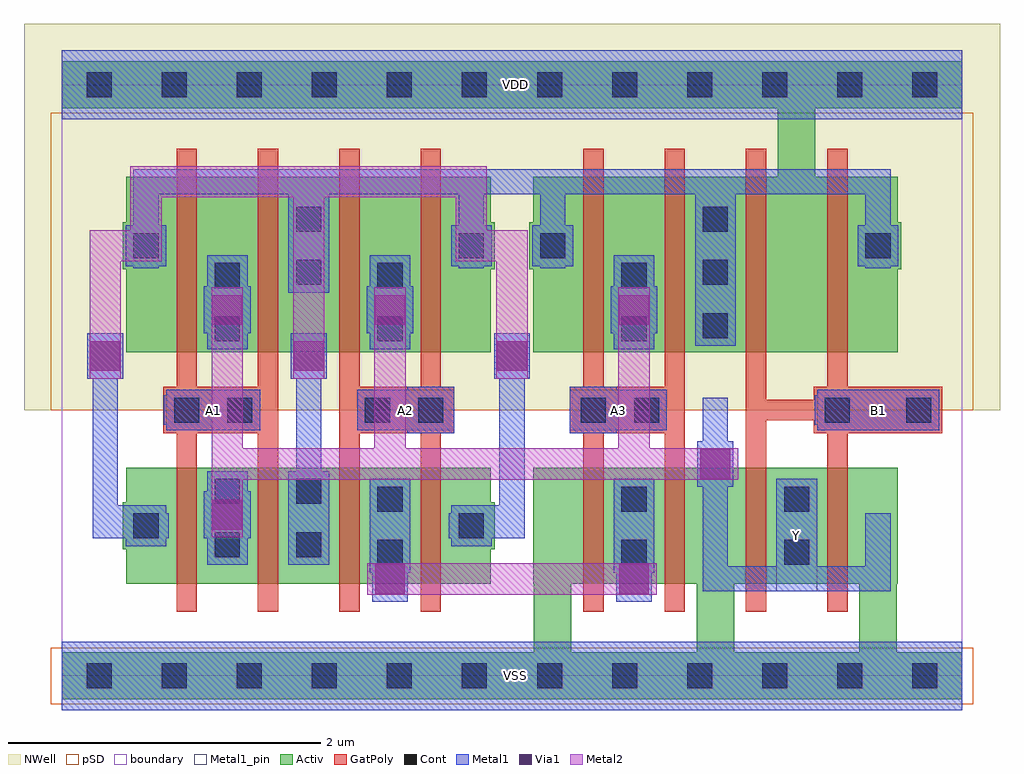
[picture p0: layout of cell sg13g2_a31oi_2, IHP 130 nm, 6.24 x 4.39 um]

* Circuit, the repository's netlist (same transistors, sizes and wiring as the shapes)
.SUBCKT sg13g2_a31oi_2 Y A1 A2 A3 B1 VDD VSS
*.PININFO A1:I A2:I A3:I B1:I Y:O VDD:B VSS:B
MN0 Y A1 net1 VSS sg13_lv_nmos w=1.48u l=130.00n ng=2
MN1 net1 A2 net2 VSS sg13_lv_nmos w=1.48u l=130.00n ng=2
MN2 net2 A3 VSS VSS sg13_lv_nmos w=1.48u l=130.00n ng=2
MN3 Y B1 VSS VSS sg13_lv_nmos w=1.48u l=130.00n ng=2
MP0 Y A1 net3 VDD sg13_lv_pmos w=2.24u l=130.00n ng=2
MP1 Y A2 net3 VDD sg13_lv_pmos w=2.24u l=130.00n ng=2
MP2 Y A3 net3 VDD sg13_lv_pmos w=2.24u l=130.00n ng=2
MP3 net3 B1 VDD VDD sg13_lv_pmos w=2.24u l=130.00n ng=2
.ENDS

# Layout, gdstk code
import gdstk
lib = gdstk.Library(unit=1e-6, precision=1e-09)
def R(c, l, rs):  # rectangles x0, y0, x1, y1
    for r in rs: c.add(gdstk.rectangle(r[:2], r[2:], *l))
def A(c, l, x, y, w, h, nx, ny, dx, dy):  # array of equal rectangles
    R(c, l, [(x+i*dx, y+j*dy, x+i*dx+w, y+j*dy+h) for i in range(nx) for j in range(ny)])
def P(c, l, *ps):  # polygons
    for p in ps: c.add(gdstk.Polygon(p, *l))
Activ = (1, 0)
GatPoly = (5, 0)
Cont = (6, 0)
Metal1 = (8, 0)
Metal1_pin = (8, 2)
Metal2 = (10, 0)
pSD = (14, 0)
Via1 = (19, 0)
NWell = (31, 0)
boundary = (189, 4)

sg13g2_a31oi_2 = lib.new_cell('sg13g2_a31oi_2')
P(sg13g2_a31oi_2, Activ, [(3.02,0.15),(0,0.15),(0,-0.15),(5.76,-0.15),(5.76,0.15),(3.02,0.15),(3.26,0.15),(3.26,0.59),(4.06,0.59),(4.06,0.15),(4.3,0.15),(4.3,0.59),(5.1,0.59),(5.1,0.15),(5.34,0.15),(5.34,0.59),(5.345,0.59),(5.345,1.33),(3.015,1.33),(3.015,0.59),(3.02,0.59)],
  [(0,3.63),(4.58,3.63),(4.58,3.19),(3.015,3.19),(3.015,2.9),(2.99,2.9),(2.99,2.6),(3.015,2.6),(3.015,2.07),(5.345,2.07),(5.345,2.6),(5.37,2.6),(5.37,2.9),(5.345,2.9),(5.345,3.19),(4.82,3.19),(4.82,3.63),(5.76,3.63),(5.76,3.93),(0,3.93)],
  [(0.39,0.81),(0.415,0.81),(0.415,0.59),(2.745,0.59),(2.745,0.81),(2.77,0.81),(2.77,1.11),(2.745,1.11),(2.745,1.33),(0.415,1.33),(0.415,1.11),(0.39,1.11)],
  [(0.39,2.6),(0.415,2.6),(0.415,2.07),(2.745,2.07),(2.745,2.6),(2.77,2.6),(2.77,2.9),(2.745,2.9),(2.745,3.19),(0.415,3.19),(0.415,2.9),(0.39,2.9)])
P(sg13g2_a31oi_2, GatPoly, [(0.65,1.55),(0.735,1.55),(0.735,0.41),(0.865,0.41),(0.865,1.55),(1.255,1.55),(1.255,0.41),(1.385,0.41),(1.385,3.37),(1.255,3.37),(1.255,1.85),(0.865,1.85),(0.865,3.37),(0.735,3.37),(0.735,1.85),(0.65,1.85)],
  [(1.775,0.41),(1.905,0.41),(1.905,1.55),(2.295,1.55),(2.295,0.41),(2.425,0.41),(2.425,1.55),(2.51,1.55),(2.51,1.85),(2.425,1.85),(2.425,3.37),(2.295,3.37),(2.295,1.85),(1.905,1.85),(1.905,3.37),(1.775,3.37)],
  [(3.25,1.55),(3.335,1.55),(3.335,0.41),(3.465,0.41),(3.465,1.55),(3.855,1.55),(3.855,0.41),(3.985,0.41),(3.985,3.37),(3.855,3.37),(3.855,1.85),(3.465,1.85),(3.465,3.37),(3.335,3.37),(3.335,1.85),(3.25,1.85)],
  [(4.375,0.41),(4.505,0.41),(4.505,1.635),(4.81,1.635),(4.81,1.55),(4.895,1.55),(4.895,0.41),(5.025,0.41),(5.025,1.55),(5.63,1.55),(5.63,1.85),(5.025,1.85),(5.025,3.37),(4.895,3.37),(4.895,1.85),(4.81,1.85),(4.81,1.765),(4.505,1.765),(4.505,3.37),(4.375,3.37)])
A(sg13g2_a31oi_2, Cont, 0.16, -0.08, 0.16, 0.16, 12, 2, 0.48, 3.78)
A(sg13g2_a31oi_2, Cont, 4.1, 2.16, 0.16, 0.16, 1, 3, 0, 0.34)
R(sg13g2_a31oi_2, Cont, [(2.02,0.71,2.18,0.87), (3.58,0.71,3.74,0.87), (4.62,0.71,4.78,0.87), (0.98,0.76,1.14,0.92), (1.5,0.76,1.66,0.92), (0.46,0.88,0.62,1.04), (2.54,0.88,2.7,1.04), (2.02,1.05,2.18,1.21), (3.58,1.05,3.74,1.21), (4.62,1.05,4.78,1.21), (0.98,1.1,1.14,1.26), (1.5,1.1,1.66,1.26), (0.72,1.62,0.88,1.78), (1.06,1.62,1.22,1.78), (1.94,1.62,2.1,1.78), (2.28,1.62,2.44,1.78), (3.32,1.62,3.48,1.78), (3.66,1.62,3.82,1.78), (4.88,1.62,5.04,1.78), (5.4,1.62,5.56,1.78), (0.98,2.14,1.14,2.3), (2.02,2.14,2.18,2.3), (3.58,2.14,3.74,2.3), (0.98,2.48,1.14,2.64), (2.02,2.48,2.18,2.64), (3.58,2.48,3.74,2.64), (1.5,2.5,1.66,2.66), (0.46,2.67,0.62,2.83), (2.54,2.67,2.7,2.83), (3.06,2.67,3.22,2.83), (5.14,2.67,5.3,2.83), (1.5,2.84,1.66,3)])
R(sg13g2_a31oi_2, Metal1, [(0,-0.22,5.76,0.22), (0,3.56,5.76,4)])
P(sg13g2_a31oi_2, Metal1, [(0.165,1.9),(0.2,1.9),(0.2,0.88),(0.41,0.88),(0.41,0.83),(0.67,0.83),(0.67,0.88),(0.685,0.88),(0.685,1.04),(0.67,1.04),(0.67,1.09),(0.36,1.09),(0.36,1.9),(0.395,1.9),(0.395,2.19),(0.165,2.19)],
  [(0.41,2.62),(0.46,2.62),(0.46,2.605),(0.62,2.605),(0.62,2.62),(0.67,2.62),(0.67,2.88),(0.62,2.88),(0.62,3.08),(1.45,3.08),(1.45,2.45),(1.71,2.45),(1.71,3.08),(2.54,3.08),(2.54,2.88),(2.49,2.88),(2.49,2.62),(2.54,2.62),(2.54,2.605),(2.7,2.605),(2.7,2.62),(2.75,2.62),(2.75,2.88),(2.7,2.88),(2.7,3.08),(3.06,3.08),(3.06,2.88),(3.01,2.88),(3.01,2.62),(3.06,2.62),(3.06,2.605),(3.22,2.605),(3.22,2.62),(3.27,2.62),(3.27,2.88),(3.22,2.88),(3.22,3.08),(4.05,3.08),(4.05,2.11),(4.31,2.11),(4.31,3.08),(5.14,3.08),(5.14,2.88),(5.09,2.88),(5.09,2.62),(5.14,2.62),(5.14,2.605),(5.3,2.605),(5.3,2.62),(5.35,2.62),(5.35,2.88),(5.3,2.88),(5.3,3.24),(0.46,3.24),(0.46,2.88),(0.41,2.88)],
  [(0.655,1.605),(0.67,1.605),(0.67,1.57),(1.27,1.57),(1.27,1.83),(0.67,1.83),(0.67,1.795),(0.655,1.795)],
  [(0.91,0.88),(0.93,0.88),(0.93,0.71),(1.19,0.71),(1.19,0.88),(1.21,0.88),(1.21,1.18),(1.19,1.18),(1.19,1.31),(0.93,1.31),(0.93,1.18),(0.91,1.18)],
  [(0.91,2.19),(0.93,2.19),(0.93,2.09),(1.19,2.09),(1.19,2.19),(1.21,2.19),(1.21,2.49),(1.19,2.49),(1.19,2.69),(0.93,2.69),(0.93,2.49),(0.91,2.49)],
  [(1.45,0.71),(1.71,0.71),(1.71,1.31),(1.66,1.31),(1.66,1.9),(1.695,1.9),(1.695,2.19),(1.465,2.19),(1.465,1.9),(1.5,1.9),(1.5,1.31),(1.45,1.31)],
  [(1.89,1.57),(2.21,1.57),(2.21,1.55),(2.51,1.55),(2.51,1.85),(2.21,1.85),(2.21,1.83),(1.89,1.83)],
  [(1.95,2.19),(1.97,2.19),(1.97,2.09),(2.23,2.09),(2.23,2.19),(2.25,2.19),(2.25,2.49),(2.23,2.49),(2.23,2.69),(1.97,2.69),(1.97,2.49),(1.95,2.49)],
  [(1.97,0.66),(1.985,0.66),(1.985,0.475),(2.215,0.475),(2.215,0.66),(2.23,0.66),(2.23,1.26),(1.97,1.26)],
  [(2.475,0.88),(2.49,0.88),(2.49,0.83),(2.75,0.83),(2.75,0.88),(2.96,0.88),(2.96,1.9),(2.995,1.9),(2.995,2.19),(2.765,2.19),(2.765,1.9),(2.8,1.9),(2.8,1.09),(2.49,1.09),(2.49,1.04),(2.475,1.04)],
  [(3.25,1.55),(3.55,1.55),(3.55,1.57),(3.87,1.57),(3.87,1.83),(3.55,1.83),(3.55,1.85),(3.25,1.85)],
  [(3.51,2.19),(3.53,2.19),(3.53,2.09),(3.79,2.09),(3.79,2.19),(3.81,2.19),(3.81,2.49),(3.79,2.49),(3.79,2.69),(3.53,2.69),(3.53,2.49),(3.51,2.49)],
  [(3.53,0.66),(3.545,0.66),(3.545,0.475),(3.775,0.475),(3.775,0.66),(3.79,0.66),(3.79,1.26),(3.53,1.26)],
  [(4.065,1.21),(4.1,1.21),(4.1,0.54),(5.3,0.54),(5.3,1.04),(5.14,1.04),(5.14,0.7),(4.83,0.7),(4.83,1.26),(4.57,1.26),(4.57,0.7),(4.26,0.7),(4.26,1.21),(4.295,1.21),(4.295,1.5),(4.26,1.5),(4.26,1.78),(4.1,1.78),(4.1,1.5),(4.065,1.5)],
  [(4.815,1.605),(4.83,1.605),(4.83,1.57),(5.61,1.57),(5.61,1.83),(4.83,1.83),(4.83,1.795),(4.815,1.795)])
R(sg13g2_a31oi_2, Metal1_pin, [(0,-0.22,5.76,0.22), (4.57,0.54,4.83,1.26), (0.67,1.57,1.27,1.83), (1.89,1.57,2.51,1.83), (3.25,1.57,3.87,1.83), (4.83,1.57,5.61,1.83), (0,3.56,5.76,4)])
R(sg13g2_a31oi_2, Metal2, [(1.955,0.52,3.805,0.72)])
P(sg13g2_a31oi_2, Metal2, [(0.18,1.9),(0.38,1.9),(0.38,2.65),(0.64,2.65),(0.64,3.06),(1.48,3.06),(1.48,1.9),(1.68,1.9),(1.68,3.06),(2.52,3.06),(2.52,2.65),(2.78,2.65),(2.78,1.9),(2.98,1.9),(2.98,2.85),(2.72,2.85),(2.72,3.26),(0.44,3.26),(0.44,2.85),(0.18,2.85)],
  [(0.96,0.885),(1.16,0.885),(1.16,1.255),(4.325,1.255),(4.325,1.455),(3.76,1.455),(3.76,2.485),(3.56,2.485),(3.56,1.455),(2.2,1.455),(2.2,2.485),(2,2.485),(2,1.455),(1.16,1.455),(1.16,2.485),(0.96,2.485)])
R(sg13g2_a31oi_2, pSD, [(-0.07,-0.18,5.83,0.18), (-0.07,1.7,5.83,3.6)])
A(sg13g2_a31oi_2, Via1, 0.185, 1.95, 0.19, 0.19, 3, 1, 1.3, 0)
R(sg13g2_a31oi_2, Via1, [(2.005,0.525,2.195,0.715), (3.565,0.525,3.755,0.715), (0.965,0.935,1.155,1.125), (4.085,1.26,4.275,1.45), (0.965,2.245,1.155,2.435), (2.005,2.245,2.195,2.435), (3.565,2.245,3.755,2.435)])
R(sg13g2_a31oi_2, NWell, [(-0.24,1.7,6,4.17)])
R(sg13g2_a31oi_2, boundary, [(0,0,5.76,3.78)])
sg13g2_a31oi_2.add(gdstk.Label('A1', (0.97,1.7), layer=8, texttype=25))
sg13g2_a31oi_2.add(gdstk.Label('Y', (4.7,0.9), layer=8, texttype=25))
sg13g2_a31oi_2.add(gdstk.Label('A2', (2.2,1.7), layer=8, texttype=25))
sg13g2_a31oi_2.add(gdstk.Label('A3', (3.56,1.7), layer=8, texttype=25))
sg13g2_a31oi_2.add(gdstk.Label('B1', (5.22,1.7), layer=8, texttype=25))
sg13g2_a31oi_2.add(gdstk.Label('VSS', (2.9,0), layer=8, texttype=25))
sg13g2_a31oi_2.add(gdstk.Label('VDD', (2.9,3.78), layer=8, texttype=25))

lib.write_gds('sg13g2_a31oi_2.gds')
